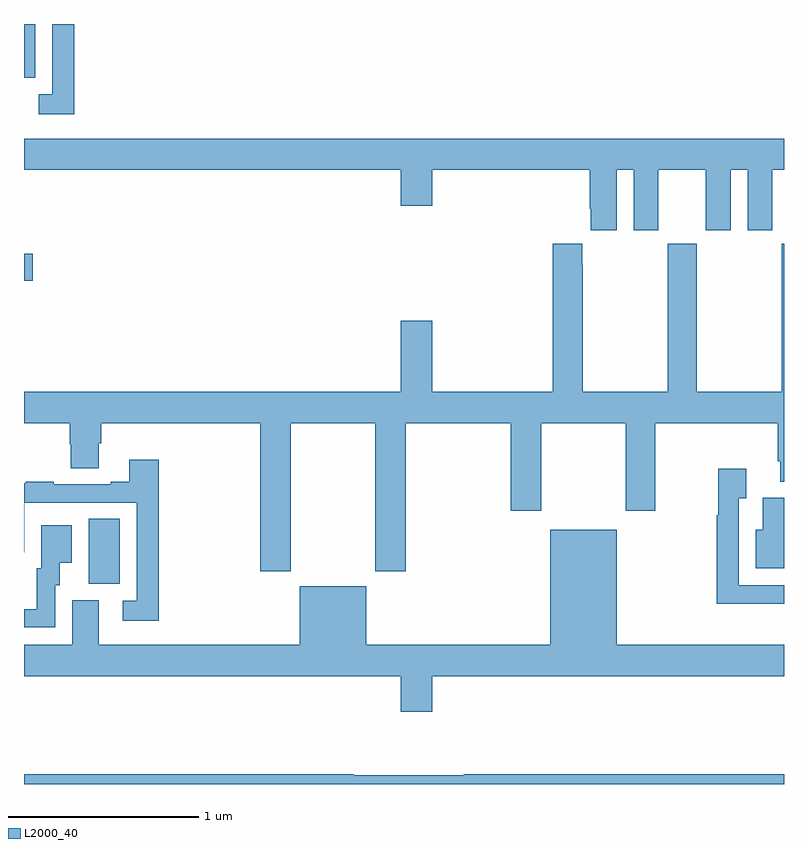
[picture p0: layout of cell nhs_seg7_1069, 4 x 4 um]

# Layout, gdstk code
import gdstk
lib = gdstk.Library(unit=1e-6, precision=1e-09)
def R(c, l, rs):  # rectangles x0, y0, x1, y1
    for r in rs: c.add(gdstk.rectangle(r[:2], r[2:], *l))
def P(c, l, *ps):  # polygons
    for p in ps: c.add(gdstk.Polygon(p, *l))
L2000_40 = (2000, 40)

nhs_seg7_1069 = lib.new_cell('nhs_seg7_1069')
R(nhs_seg7_1069, L2000_40, [(187.34,1049.053,187.504,1049.396), (187,1050.65,187.045,1050.792), (187,1051.717,187.06,1052)])
P(nhs_seg7_1069, L2000_40, [(187.265,1052),(187.149,1052),(187.149,1051.629),(187.077,1051.629),(187.077,1051.524),(187.265,1051.524)],
  [(190.12,1051.232),(190.208,1051.232),(190.208,1050.915),(190.339,1050.915),(190.339,1051.232),(190.589,1051.232),(190.589,1050.915),(190.72,1050.915),(190.72,1051.232),(190.808,1051.232),(190.808,1050.915),(190.939,1050.915),(190.939,1051.232),(191,1051.232),(191,1051.396),(187,1051.396),(187,1051.232),(188.984,1051.232),(188.984,1051.044),(189.148,1051.044),(189.148,1051.232),(189.977,1051.232),(189.977,1051.027),(189.983,1051.027),(189.983,1050.915),(190.12,1050.915)],
  [(188.403,1049.9),(188.848,1049.9),(188.848,1049.121),(189.008,1049.121),(189.008,1049.9),(189.563,1049.9),(189.563,1049.439),(189.723,1049.439),(189.723,1049.9),(190.168,1049.9),(190.168,1049.439),(190.323,1049.439),(190.323,1049.9),(190.967,1049.9),(190.967,1049.698),(190.979,1049.698),(190.979,1049.591),(191,1049.591),(191,1050.844),(190.987,1050.844),(190.987,1050.064),(190.542,1050.064),(190.542,1050.844),(190.387,1050.844),(190.387,1050.064),(189.942,1050.064),(189.942,1050.731),(189.937,1050.731),(189.937,1050.844),(189.782,1050.844),(189.782,1050.064),(189.148,1050.064),(189.148,1050.439),(188.984,1050.439),(188.984,1050.064),(187,1050.064),(187,1049.9),(187.241,1049.9),(187.241,1049.787),(187.246,1049.787),(187.246,1049.662),(187.393,1049.662),(187.393,1049.794),(187.406,1049.794),(187.406,1049.9),(188.243,1049.9),(188.243,1049.121),(188.403,1049.121)],
  [(187.709,1049.707),(187.553,1049.707),(187.553,1049.59),(187.457,1049.59),(187.457,1049.577),(187.157,1049.577),(187.157,1049.59),(187.009,1049.59),(187.009,1049.583),(187,1049.583),(187,1049.22),(187.002,1049.22),(187.002,1049.481),(187.593,1049.481),(187.593,1048.965),(187.521,1048.965),(187.521,1048.86),(187.709,1048.86)],
  [(190.937,1048.95),(191,1048.95),(191,1049.046),(190.761,1049.046),(190.761,1049.503),(190.801,1049.503),(190.801,1049.659),(190.653,1049.659),(190.653,1049.414),(190.645,1049.414),(190.645,1048.949),(190.937,1048.949)],
  [(191,1049.506),(190.889,1049.506),(190.889,1049.338),(190.85,1049.338),(190.85,1049.135),(191,1049.135)],
  [(187.164,1049.046),(187.189,1049.046),(187.189,1049.165),(187.252,1049.165),(187.252,1049.362),(187.091,1049.362),(187.091,1049.136),(187.067,1049.136),(187.067,1048.92),(187,1048.92),(187,1048.824),(187.164,1048.824)],
  [(189.148,1048.568),(191,1048.568),(191,1048.732),(190.12,1048.732),(190.12,1049.338),(189.77,1049.338),(189.77,1048.732),(188.8,1048.732),(188.8,1049.041),(188.45,1049.041),(188.45,1048.732),(187.393,1048.732),(187.393,1048.968),(187.253,1048.968),(187.253,1048.732),(187,1048.732),(187,1048.568),(188.984,1048.568),(188.984,1048.38),(189.148,1048.38)],
  [(191,1048.052),(189.315,1048.052),(189.315,1048.045),(188.735,1048.045),(188.735,1048.052),(187,1048.052),(187,1048),(191,1048)])

lib.write_gds('nhs_seg7_1069.gds')
